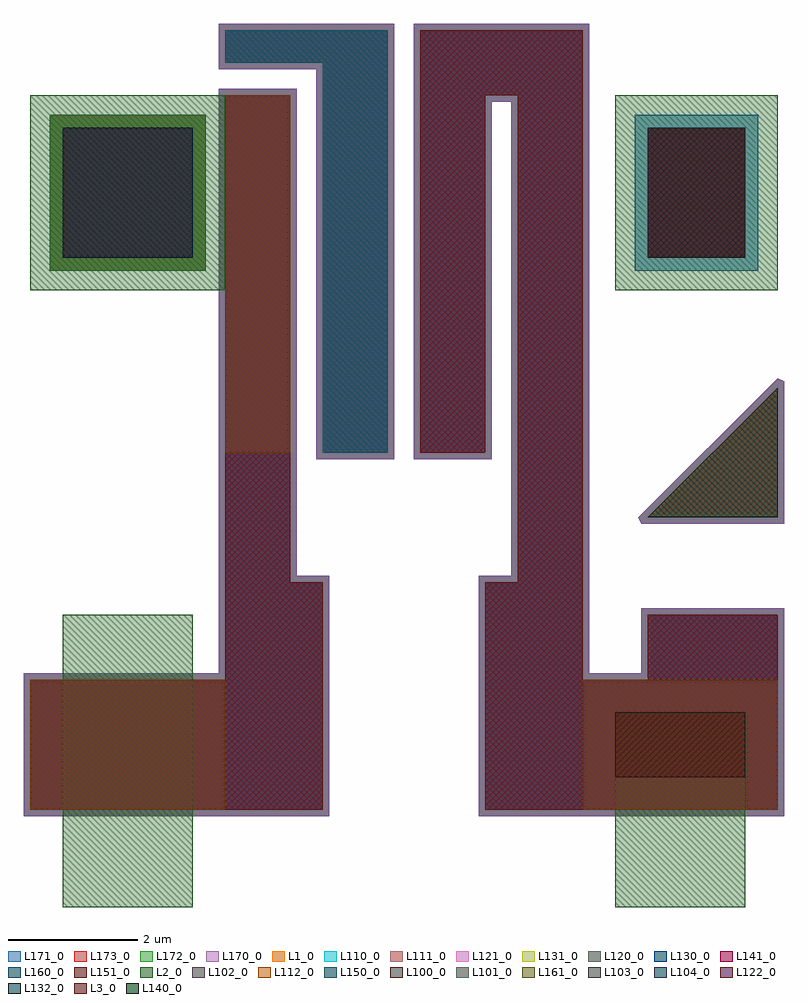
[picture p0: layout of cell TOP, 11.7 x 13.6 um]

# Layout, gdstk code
from math import pi, radians
import gdstk
lib = gdstk.Library(unit=1e-6, precision=1e-09)
def R(c, l, rs):  # rectangles x0, y0, x1, y1
    for r in rs: c.add(gdstk.rectangle(r[:2], r[2:], *l))
def P(c, l, *ps):  # polygons
    for p in ps: c.add(gdstk.Polygon(p, *l))
L1_0 = (1, 0)
L2_0 = (2, 0)
L3_0 = (3, 0)
L100_0 = (100, 0)
L101_0 = (101, 0)
L102_0 = (102, 0)
L103_0 = (103, 0)
L104_0 = (104, 0)
L110_0 = (110, 0)
L111_0 = (111, 0)
L112_0 = (112, 0)
L120_0 = (120, 0)
L121_0 = (121, 0)
L122_0 = (122, 0)
L130_0 = (130, 0)
L131_0 = (131, 0)
L132_0 = (132, 0)
L140_0 = (140, 0)
L141_0 = (141, 0)
L150_0 = (150, 0)
L151_0 = (151, 0)
L160_0 = (160, 0)
L161_0 = (161, 0)
L170_0 = (170, 0)
L171_0 = (171, 0)
L172_0 = (172, 0)
L173_0 = (173, 0)

part = lib.new_cell('PART')
R(part, L1_0, [(0,0,1,5.5)])

child = lib.new_cell('CHILD')
R(child, L1_0, [(-0.5,-5.5,0,-2), (1,-5.5,4,-3.5), (2,3,3.5,5)])
R(child, L2_0, [(1.5,-7,3.5,-4), (1.5,2.5,4,5.5)])
child.add(gdstk.Reference(part, (0,0)))
child.add(gdstk.Reference(part, (0,-5.5)))
child.add(gdstk.Reference(part, (-1.5,0)))

top = lib.new_cell('TOP')
R(top, L1_0, [(2,-3.5,4,-2.5), (-6,3,-5,5), (-3,5.5,-2,6.5), (-1.5,5.5,1,6.5), (-4.5,6,-3,6.5)])
P(top, L1_0, [(2,-1),(4,1),(4,-1)])
R(top, L2_0, [(-7,-4,-5,-2.5), (-5.5,2.5,-4.5,5.5)])
R(top, L3_0, [(1.5,-5,3.5,-4)])
R(top, L100_0, [(-7,3,-5,5), (2,3,3.5,5)])
R(top, L101_0, [(-7,3,-5,5), (2,3,3.5,5)])
R(top, L102_0, [(-7.5,-5.5,-4.5,-3.5), (1,-5.5,4,-3.5), (-4.5,0,-3.5,5.5), (-7,3,-5.5,5), (-6,3,-5,5), (2,3,3.5,5)])
R(top, L103_0, [(-7,3,-5,5)])
R(top, L104_0, [(-7,3,-5,5)])
R(top, L110_0, [(-7,3,-5,5), (2,3,3.5,5)])
P(top, L110_0, [(-3,0),(-3,6),(-4.5,6),(-4.5,6.5),(-2,6.5),(-2,0)],
  [(-0.5,-5.5),(-0.5,-2),(0,-2),(0,5.5),(-0.5,5.5),(-0.5,0),(-1.5,0),(-1.5,6.5),(1,6.5),(1,-3.5),(2,-3.5),(2,-2.5),(4,-2.5),(4,-5.5)],
  [(-7.5,-5.5),(-7.5,-3.5),(-4.5,-3.5),(-4.5,5.5),(-3.5,5.5),(-3.5,-2),(-3,-2),(-3,-5.5)])
R(top, L111_0, [(-7,3,-5,5), (2,3,3.5,5)])
P(top, L111_0, [(-3,0),(-3,6),(-4.5,6),(-4.5,6.5),(-2,6.5),(-2,0)],
  [(-0.5,-5.5),(-0.5,-2),(0,-2),(0,5.5),(-0.5,5.5),(-0.5,0),(-1.5,0),(-1.5,6.5),(1,6.5),(1,-3.5),(2,-3.5),(2,-2.5),(4,-2.5),(4,-5.5)],
  [(-7.5,-5.5),(-7.5,-3.5),(-4.5,-3.5),(-4.5,5.5),(-3.5,5.5),(-3.5,-2),(-3,-2),(-3,-5.5)])
R(top, L112_0, [(-7.5,-5.5,-4.5,-3.5), (1,-5.5,4,-3.5), (-4.5,0,-3.5,5.5), (-7,3,-5.5,5), (-6,3,-5,5), (2,3,3.5,5)])
R(top, L120_0, [(-7,3,-5,5)])
P(top, L120_0, [(-3,0),(-3,6),(-4.5,6),(-4.5,6.5),(-2,6.5),(-2,0)],
  [(-0.5,-5.5),(-0.5,-2),(0,-2),(0,5.5),(-0.5,5.5),(-0.5,0),(-1.5,0),(-1.5,6.5),(1,6.5),(1,-3.5),(2,-3.5),(2,-2.5),(4,-2.5),(4,-5.5)],
  [(-7.5,-5.5),(-7.5,-3.5),(-4.5,-3.5),(-4.5,5.5),(-3.5,5.5),(-3.5,-2),(-3,-2),(-3,-5.5)])
R(top, L121_0, [(-7,3,-5,5), (2,3,3.5,5)])
P(top, L121_0, [(-3,0),(-3,6),(-4.5,6),(-4.5,6.5),(-2,6.5),(-2,0)],
  [(-0.5,-5.5),(-0.5,-2),(0,-2),(0,5.5),(-0.5,5.5),(-0.5,0),(-1.5,0),(-1.5,6.5),(1,6.5),(1,-3.5),(2,-3.5),(2,-2.5),(4,-2.5),(4,-5.5)],
  [(-7.5,-5.5),(-7.5,-3.5),(-4.5,-3.5),(-4.5,5.5),(-3.5,5.5),(-3.5,-2),(-3,-2),(-3,-5.5)])
R(top, L122_0, [(2,3,3.5,5)])
R(top, L130_0, [(-7,3,-5,5)])
P(top, L130_0, [(-3,0),(-3,6),(-4.5,6),(-4.5,6.5),(-2,6.5),(-2,0)],
  [(-0.5,-5.5),(-0.5,-2),(0,-2),(0,5.5),(-0.5,5.5),(-0.5,0),(-1.5,0),(-1.5,6.5),(1,6.5),(1,-3.5),(2,-3.5),(2,-2.5),(4,-2.5),(4,-5.5)],
  [(-7.5,-5.5),(-7.5,-3.5),(-4.5,-3.5),(-4.5,5.5),(-3.5,5.5),(-3.5,-2),(-3,-2),(-3,-5.5)])
R(top, L131_0, [(-7,3,-5,5), (2,3,3.5,5)])
P(top, L131_0, [(-3,0),(-3,6),(-4.5,6),(-4.5,6.5),(-2,6.5),(-2,0)],
  [(-0.5,-5.5),(-0.5,-2),(0,-2),(0,5.5),(-0.5,5.5),(-0.5,0),(-1.5,0),(-1.5,6.5),(1,6.5),(1,-3.5),(2,-3.5),(2,-2.5),(4,-2.5),(4,-5.5)],
  [(-7.5,-5.5),(-7.5,-3.5),(-4.5,-3.5),(-4.5,5.5),(-3.5,5.5),(-3.5,-2),(-3,-2),(-3,-5.5)])
R(top, L132_0, [(2,3,3.5,5)])
P(top, L140_0, [(2,-1),(4,1),(4,-1)])
P(top, L141_0, [(-3,0),(-3,6),(-4.5,6),(-4.5,6.5),(-2,6.5),(-2,0)],
  [(2,-1),(4,1),(4,-1)],
  [(-0.5,-5.5),(-0.5,-2),(0,-2),(0,5.5),(-0.5,5.5),(-0.5,0),(-1.5,0),(-1.5,6.5),(1,6.5),(1,-3.5),(2,-3.5),(2,-2.5),(4,-2.5),(4,-5.5)],
  [(-7.5,-5.5),(-7.5,-3.5),(-4.5,-3.5),(-4.5,5.5),(-3.5,5.5),(-3.5,-2),(-3,-2),(-3,-5.5)])
P(top, L150_0, [(-3,0),(-3,6),(-4.5,6),(-4.5,6.5),(-2,6.5),(-2,0)],
  [(2,-1),(4,1),(4,-1)])
R(top, L151_0, [(-7,3,-5,5), (2,3,3.5,5)])
P(top, L151_0, [(-0.5,-5.5),(-0.5,-2),(0,-2),(0,5.5),(-0.5,5.5),(-0.5,0),(-1.5,0),(-1.5,6.5),(1,6.5),(1,-3.5),(2,-3.5),(2,-2.5),(4,-2.5),(4,-5.5)],
  [(-7.5,-5.5),(-7.5,-3.5),(-4.5,-3.5),(-4.5,5.5),(-3.5,5.5),(-3.5,-2),(-3,-2),(-3,-5.5)])
P(top, L160_0, [(-3,0),(-3,6),(-4.5,6),(-4.5,6.5),(-2,6.5),(-2,0)],
  [(-0.5,-5.5),(-0.5,-2),(0,-2),(0,5.5),(-0.5,5.5),(-0.5,0),(-1.5,0),(-1.5,6.5),(1,6.5),(1,-3.5),(2,-3.5),(2,-2.5),(4,-2.5),(4,-5.5)],
  [(-7.5,-5.5),(-7.5,-3.5),(-4.5,-3.5),(-4.5,5.5),(-3.5,5.5),(-3.5,-2),(-3,-2),(-3,-5.5)])
R(top, L161_0, [(-7,3,-5,5), (2,3,3.5,5)])
P(top, L170_0, [(-3.1,-0.1),(-3.1,5.9),(-4.6,5.9),(-4.6,6.6),(-1.9,6.6),(-1.9,-0.1)],
  [(1.9,-1.1),(1.858,-1),(4,1.142),(4.1,1.1),(4.1,-1.1)],
  [(-0.6,-5.6),(-0.6,-1.9),(-0.1,-1.9),(-0.1,5.4),(-0.4,5.4),(-0.4,-0.1),(-1.6,-0.1),(-1.6,6.6),(1.1,6.6),(1.1,-3.4),(1.9,-3.4),(1.9,-2.4),(4.1,-2.4),(4.1,-5.6)],
  [(-7.6,-5.6),(-7.6,-3.4),(-4.6,-3.4),(-4.6,5.6),(-3.4,5.6),(-3.4,-1.9),(-2.9,-1.9),(-2.9,-5.6)])
R(top, L171_0, [(-7.2,2.8,-4.8,5.2), (1.8,2.8,3.7,5.2)])
P(top, L171_0, [(-3.1,-0.1),(-3.1,5.9),(-4.6,5.9),(-4.6,6.6),(-1.9,6.6),(-1.9,-0.1)],
  [(1.9,-1.1),(1.858,-1),(4,1.142),(4.1,1.1),(4.1,-1.1)],
  [(-0.6,-5.6),(-0.6,-1.9),(-0.1,-1.9),(-0.1,5.4),(-0.4,5.4),(-0.4,-0.1),(-1.6,-0.1),(-1.6,6.6),(1.1,6.6),(1.1,-3.4),(1.9,-3.4),(1.9,-2.4),(4.1,-2.4),(4.1,-5.6)],
  [(-7.6,-5.6),(-7.6,-3.4),(-4.6,-3.4),(-4.6,5.6),(-3.4,5.6),(-3.4,-1.9),(-2.9,-1.9),(-2.9,-5.6)])
R(top, L172_0, [(-7.2,2.8,-4.8,5.2)])
P(top, L172_0, [(-3.1,-0.1),(-3.1,5.9),(-4.6,5.9),(-4.6,6.6),(-1.9,6.6),(-1.9,-0.1)],
  [(1.9,-1.1),(1.858,-1),(4,1.142),(4.1,1.1),(4.1,-1.1)],
  [(-0.6,-5.6),(-0.6,-1.9),(-0.1,-1.9),(-0.1,5.4),(-0.4,5.4),(-0.4,-0.1),(-1.6,-0.1),(-1.6,6.6),(1.1,6.6),(1.1,-3.4),(1.9,-3.4),(1.9,-2.4),(4.1,-2.4),(4.1,-5.6)],
  [(-7.6,-5.6),(-7.6,-3.4),(-4.6,-3.4),(-4.6,5.6),(-3.4,5.6),(-3.4,-1.9),(-2.9,-1.9),(-2.9,-5.6)])
R(top, L173_0, [(-7.2,2.8,-4.8,5.2), (2,3,3.5,5)])
P(top, L173_0, [(-3.1,-0.1),(-3.1,5.9),(-4.6,5.9),(-4.6,6.6),(-1.9,6.6),(-1.9,-0.1)],
  [(1.9,-1.1),(1.858,-1),(4,1.142),(4.1,1.1),(4.1,-1.1)],
  [(-0.6,-5.6),(-0.6,-1.9),(-0.1,-1.9),(-0.1,5.4),(-0.4,5.4),(-0.4,-0.1),(-1.6,-0.1),(-1.6,6.6),(1.1,6.6),(1.1,-3.4),(1.9,-3.4),(1.9,-2.4),(4.1,-2.4),(4.1,-5.6)],
  [(-7.6,-5.6),(-7.6,-3.4),(-4.6,-3.4),(-4.6,5.6),(-3.4,5.6),(-3.4,-1.9),(-2.9,-1.9),(-2.9,-5.6)])
top.add(gdstk.Reference(child, (0,0)))
top.add(gdstk.Reference(child, (-3.5,0), rotation=pi, x_reflection=True))

lib.write_gds('TOP.gds')
